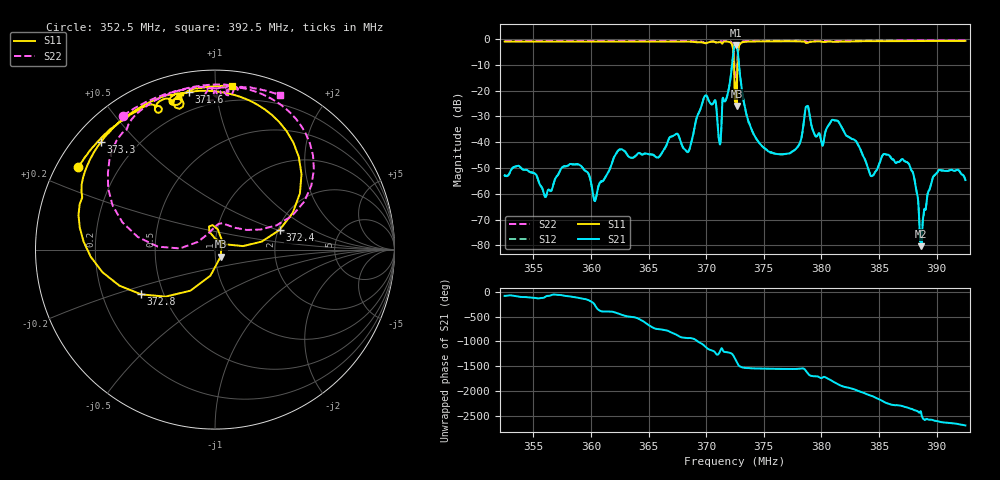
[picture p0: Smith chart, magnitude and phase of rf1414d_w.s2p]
!RF1414D #1, In tuned fixture, 2-12-07, Wide span
# HZ S RI R 50
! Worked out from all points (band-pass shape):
!   1601 points, 352.5 MHz to 392.5 MHz, reference 50 ohm
!   highest |S21| = -2.30 dB at 372.6 MHz (marker M1); lowest = -80.3 dB at 388.7 MHz (marker M2)
!   |S21| within 3 dB of the highest: 372.3552 MHz to 372.752 MHz (396.8 kHz wide, 0.107 % of centre)
!   lowest |S11| = -26.0 dB at 372.6 MHz (marker M3), VSWR 1.11, Z = 53.1 - j4.11 ohm
!   |S11| at or under -10 dB: 372.4122 MHz to 372.712 MHz (299.8 kHz wide, 0.0805 % of centre)
!   |S22| runs from -20.3 to -0.6 dB; largest |S21 - S12| = 0.011
!   S11 on the Smith chart (normalised r, x): 352.5 MHz: 0.06, +0.28; 371.6 MHz: 0.10, +0.84; 372.4 MHz: 2.03, +0.52; 372.8 MHz: 0.37, -0.24; 373.3 MHz: 0.08, +0.39; 392.5 MHz: 0.10, +1.11
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3.525e8  -0.7611 0.4578  0.000495 -0.00221  0.000491 -0.00219  -0.5125 0.7466
3.59175e8  -0.6378 0.619  -0.00222 -0.00258  -0.00216 -0.00259  -0.3464 0.8393
3.6035e8  -0.6119 0.6446  -4.9e-06 0.000723  -2.35e-05 0.00071  -0.3153 0.8516
3.6245e8  -0.5614 0.6875  0.000982 -0.00712  0.00105 -0.00704  -0.2598 0.8702
3.6585e8  -0.4741 0.7508  0.00437 -0.00263  0.00436 -0.00253  -0.1627 0.8962
3.6845e8  -0.38 0.8033  -0.00558 0.00342  -0.00561 0.00329  -0.0652 0.9045
3.6995e8  -0.3103 0.7637  0.0688 -0.0415  0.0688 -0.0402  -0.0248 0.8297
3.7115e8  -0.2271 0.8367  -0.00803 -0.00557  -0.00776 -0.00576  0.0317 0.9024
3.7165e8  -0.1451 0.8782  -0.0435 -0.045  -0.0423 -0.0458  0.122 0.9042
3.724e8  0.3594 0.1092  -0.4668 0.4506  -0.4653 0.4604  0.4297 0.1884
3.725e8  0.00136 0.0604  -0.00748 0.7571  0.00143 0.756  0.1135 0.1212
3.72575e8  -0.0137 0.1365  0.3934 0.6583  0.3978 0.6565  0.019 0.1429
3.7265e8  0.032 -0.0385  0.6699 0.3146  0.6749 0.3098  -0.0957 0.0427
3.7275e8  -0.4111 -0.2495  0.511 -0.1995  0.5047 -0.2074  -0.5156 0.1513
3.73275e8  -0.6356 0.5992  -0.00157 -0.0586  -0.000858 -0.0576  -0.3011 0.8473
3.75625e8  -0.3618 0.8222  -0.00233 -0.00591  -0.0022 -0.00591  -0.0334 0.9178
3.79175e8  -0.2457 0.8495  -0.00367 0.0192  -0.00399 0.019  0.0638 0.905
3.8585e8  -0.0663 0.9042  -0.00133 -0.00546  -0.00121 -0.00549  0.2262 0.8977
3.878e8  -0.0173 0.9084  -0.00263 0.00117  -0.00265 0.00109  0.2679 0.8884
3.88675e8  0.005 0.9106  5.34e-05 8.07e-05  5.67e-05 8.73e-05  0.2856 0.8847
3.899e8  0.0339 0.9117  0.000128 -0.00235  0.00017 -0.00238  0.3102 0.8773
3.925e8  0.0959 0.9112  -0.00184 6.1e-06  -0.00185 -4.57e-05  0.3594 0.8611
